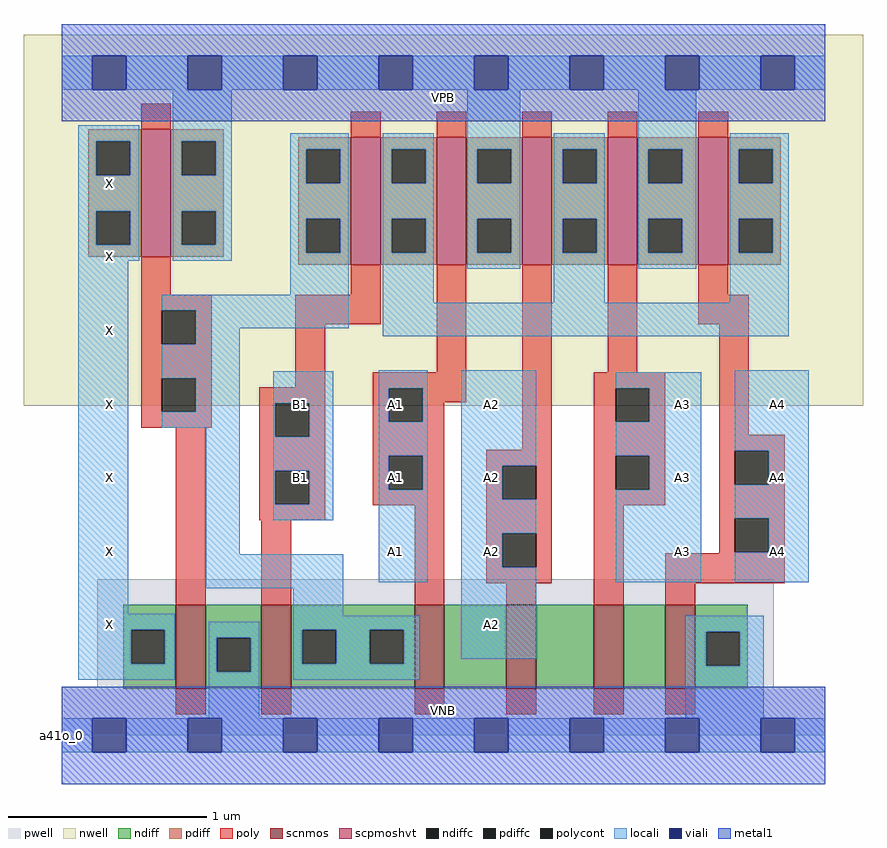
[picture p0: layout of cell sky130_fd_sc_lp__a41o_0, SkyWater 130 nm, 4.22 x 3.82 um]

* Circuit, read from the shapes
.subckt sky130_fd_sc_lp__a41o_0 A1 A2 A3 A4 B1 VGND VNB VPB VPWR X
XM1 VGND n1 X VNB sky130_fd_pr__nfet_01v8 w=0.42 l=0.15
XM2 n1 B1 VGND VNB sky130_fd_pr__nfet_01v8 w=0.42 l=0.15
XM3 n2 A1 n1 VNB sky130_fd_pr__nfet_01v8 w=0.42 l=0.15
XM4 n3 A2 n2 VNB sky130_fd_pr__nfet_01v8 w=0.42 l=0.15
XM5 n4 A3 n3 VNB sky130_fd_pr__nfet_01v8 w=0.42 l=0.15
XM6 VGND A4 n4 VNB sky130_fd_pr__nfet_01v8 w=0.42 l=0.15
XM7 VPWR n1 X VPB sky130_fd_pr__pfet_01v8_hvt w=0.64 l=0.15
XM8 n5 B1 n1 VPB sky130_fd_pr__pfet_01v8_hvt w=0.64 l=0.15
XM9 VPWR A1 n5 VPB sky130_fd_pr__pfet_01v8_hvt w=0.64 l=0.15
XM10 n5 A2 VPWR VPB sky130_fd_pr__pfet_01v8_hvt w=0.64 l=0.15
XM11 VPWR A3 n5 VPB sky130_fd_pr__pfet_01v8_hvt w=0.64 l=0.15
XM12 n5 A4 VPWR VPB sky130_fd_pr__pfet_01v8_hvt w=0.64 l=0.15
.ends

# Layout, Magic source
magic
tech sky130A
magscale 1 2
<< nwell >>
rect -38 331 806 704
<< pwell >>
rect 36 49 716 157
rect 0 0 768 49
<< scnmos >>
rect 115 47 145 131
rect 201 47 231 131
rect 355 47 385 131
rect 447 47 477 131
rect 535 47 565 131
rect 607 47 637 131
<< scpmoshvt >>
rect 80 481 110 609
rect 291 473 321 601
rect 377 473 407 601
rect 463 473 493 601
rect 549 473 579 601
rect 640 473 670 601
<< ndiff >>
rect 62 106 115 131
rect 62 72 70 106
rect 104 72 115 106
rect 62 47 115 72
rect 145 98 201 131
rect 145 64 156 98
rect 190 64 201 98
rect 145 47 201 64
rect 231 106 355 131
rect 231 72 242 106
rect 276 72 310 106
rect 344 72 355 106
rect 231 47 355 72
rect 385 47 447 131
rect 477 47 535 131
rect 565 47 607 131
rect 637 104 690 131
rect 637 70 648 104
rect 682 70 690 104
rect 637 47 690 70
<< pdiff >>
rect 27 597 80 609
rect 27 563 35 597
rect 69 563 80 597
rect 27 527 80 563
rect 27 493 35 527
rect 69 493 80 527
rect 27 481 80 493
rect 110 597 163 609
rect 110 563 121 597
rect 155 563 163 597
rect 110 527 163 563
rect 110 493 121 527
rect 155 493 163 527
rect 110 481 163 493
rect 238 589 291 601
rect 238 555 246 589
rect 280 555 291 589
rect 238 519 291 555
rect 238 485 246 519
rect 280 485 291 519
rect 238 473 291 485
rect 321 589 377 601
rect 321 555 332 589
rect 366 555 377 589
rect 321 519 377 555
rect 321 485 332 519
rect 366 485 377 519
rect 321 473 377 485
rect 407 589 463 601
rect 407 555 418 589
rect 452 555 463 589
rect 407 519 463 555
rect 407 485 418 519
rect 452 485 463 519
rect 407 473 463 485
rect 493 589 549 601
rect 493 555 504 589
rect 538 555 549 589
rect 493 519 549 555
rect 493 485 504 519
rect 538 485 549 519
rect 493 473 549 485
rect 579 589 640 601
rect 579 555 590 589
rect 624 555 640 589
rect 579 519 640 555
rect 579 485 590 519
rect 624 485 640 519
rect 579 473 640 485
rect 670 589 723 601
rect 670 555 681 589
rect 715 555 723 589
rect 670 519 723 555
rect 670 485 681 519
rect 715 485 723 519
rect 670 473 723 485
<< ndiffc >>
rect 70 72 104 106
rect 156 64 190 98
rect 242 72 276 106
rect 310 72 344 106
rect 648 70 682 104
<< pdiffc >>
rect 35 563 69 597
rect 35 493 69 527
rect 121 563 155 597
rect 121 493 155 527
rect 246 555 280 589
rect 246 485 280 519
rect 332 555 366 589
rect 332 485 366 519
rect 418 555 452 589
rect 418 485 452 519
rect 504 555 538 589
rect 504 485 538 519
rect 590 555 624 589
rect 590 485 624 519
rect 681 555 715 589
rect 681 485 715 519
<< poly >>
rect 80 609 110 635
rect 291 601 321 627
rect 377 601 407 627
rect 463 601 493 627
rect 549 601 579 627
rect 640 601 670 627
rect 80 443 110 481
rect 291 443 321 473
rect 80 427 151 443
rect 80 393 101 427
rect 135 393 151 427
rect 80 359 151 393
rect 80 325 101 359
rect 135 325 151 359
rect 235 413 321 443
rect 235 350 265 413
rect 377 365 407 473
rect 80 309 151 325
rect 199 334 265 350
rect 115 131 145 309
rect 199 300 215 334
rect 249 300 265 334
rect 199 266 265 300
rect 199 232 215 266
rect 249 232 265 266
rect 199 216 265 232
rect 313 349 407 365
rect 313 315 329 349
rect 363 335 407 349
rect 363 315 385 335
rect 313 281 385 315
rect 463 287 493 473
rect 549 365 579 473
rect 640 443 670 473
rect 640 413 691 443
rect 313 247 329 281
rect 363 247 385 281
rect 313 231 385 247
rect 201 131 231 216
rect 355 131 385 231
rect 427 271 493 287
rect 427 237 443 271
rect 477 237 493 271
rect 427 203 493 237
rect 427 169 443 203
rect 477 169 493 203
rect 427 153 493 169
rect 535 349 607 365
rect 535 315 557 349
rect 591 315 607 349
rect 535 281 607 315
rect 535 247 557 281
rect 591 247 607 281
rect 535 231 607 247
rect 661 302 691 413
rect 661 286 727 302
rect 661 252 677 286
rect 711 252 727 286
rect 447 131 477 153
rect 535 131 565 231
rect 661 218 727 252
rect 661 184 677 218
rect 711 184 727 218
rect 661 183 727 184
rect 607 153 727 183
rect 607 131 637 153
rect 115 21 145 47
rect 201 21 231 47
rect 355 21 385 47
rect 447 21 477 47
rect 535 21 565 47
rect 607 21 637 47
<< polycont >>
rect 101 393 135 427
rect 101 325 135 359
rect 215 300 249 334
rect 215 232 249 266
rect 329 315 363 349
rect 329 247 363 281
rect 443 237 477 271
rect 443 169 477 203
rect 557 315 591 349
rect 557 247 591 281
rect 677 252 711 286
rect 677 184 711 218
<< locali >>
rect 0 649 31 683
rect 65 649 127 683
rect 161 649 223 683
rect 257 649 319 683
rect 353 649 415 683
rect 449 649 511 683
rect 545 649 607 683
rect 641 649 703 683
rect 737 649 768 683
rect 17 597 78 613
rect 17 563 35 597
rect 69 563 78 597
rect 17 527 78 563
rect 17 493 35 527
rect 69 493 78 527
rect 17 477 78 493
rect 112 597 171 649
rect 112 563 121 597
rect 155 563 171 597
rect 112 527 171 563
rect 112 493 121 527
rect 155 493 171 527
rect 112 477 171 493
rect 230 589 289 605
rect 230 555 246 589
rect 280 555 289 589
rect 230 519 289 555
rect 230 485 246 519
rect 280 485 289 519
rect 17 122 67 477
rect 230 443 289 485
rect 101 427 289 443
rect 135 409 289 427
rect 323 589 374 605
rect 323 555 332 589
rect 366 555 374 589
rect 323 519 374 555
rect 323 485 332 519
rect 366 485 374 519
rect 323 435 374 485
rect 408 589 461 649
rect 408 555 418 589
rect 452 555 461 589
rect 408 519 461 555
rect 408 485 418 519
rect 452 485 461 519
rect 408 469 461 485
rect 495 589 546 605
rect 495 555 504 589
rect 538 555 546 589
rect 495 519 546 555
rect 495 485 504 519
rect 538 485 546 519
rect 495 435 546 485
rect 580 589 638 649
rect 580 555 590 589
rect 624 555 638 589
rect 580 519 638 555
rect 580 485 590 519
rect 624 485 638 519
rect 580 469 638 485
rect 672 589 731 605
rect 672 555 681 589
rect 715 555 731 589
rect 672 519 731 555
rect 672 485 681 519
rect 715 485 731 519
rect 672 435 731 485
rect 135 393 179 409
rect 323 401 731 435
rect 101 359 179 393
rect 135 325 179 359
rect 101 309 179 325
rect 145 182 179 309
rect 213 334 273 366
rect 213 300 215 334
rect 249 300 273 334
rect 213 266 273 300
rect 213 232 215 266
rect 249 232 273 266
rect 213 216 273 232
rect 319 349 368 367
rect 319 315 329 349
rect 363 315 368 349
rect 319 281 368 315
rect 319 247 329 281
rect 363 247 368 281
rect 145 148 283 182
rect 319 154 368 247
rect 402 271 477 367
rect 402 237 443 271
rect 402 203 477 237
rect 402 169 443 203
rect 17 106 114 122
rect 233 120 283 148
rect 17 72 70 106
rect 104 72 114 106
rect 17 56 114 72
rect 148 98 199 114
rect 148 64 156 98
rect 190 64 199 98
rect 148 17 199 64
rect 233 106 360 120
rect 233 72 242 106
rect 276 72 310 106
rect 344 72 360 106
rect 402 77 477 169
rect 557 349 643 365
rect 591 315 643 349
rect 557 281 643 315
rect 591 247 643 281
rect 557 154 643 247
rect 677 286 751 367
rect 711 252 751 286
rect 677 218 751 252
rect 711 184 751 218
rect 677 154 751 184
rect 627 104 706 120
rect 233 56 360 72
rect 627 70 648 104
rect 682 70 706 104
rect 627 17 706 70
rect 0 -17 31 17
rect 65 -17 127 17
rect 161 -17 223 17
rect 257 -17 319 17
rect 353 -17 415 17
rect 449 -17 511 17
rect 545 -17 607 17
rect 641 -17 703 17
rect 737 -17 768 17
<< viali >>
rect 31 649 65 683
rect 127 649 161 683
rect 223 649 257 683
rect 319 649 353 683
rect 415 649 449 683
rect 511 649 545 683
rect 607 649 641 683
rect 703 649 737 683
rect 31 -17 65 17
rect 127 -17 161 17
rect 223 -17 257 17
rect 319 -17 353 17
rect 415 -17 449 17
rect 511 -17 545 17
rect 607 -17 641 17
rect 703 -17 737 17
<< metal1 >>
rect 0 683 768 715
rect 0 649 31 683
rect 65 649 127 683
rect 161 649 223 683
rect 257 649 319 683
rect 353 649 415 683
rect 449 649 511 683
rect 545 649 607 683
rect 641 649 703 683
rect 737 649 768 683
rect 0 617 768 649
rect 0 17 768 49
rect 0 -17 31 17
rect 65 -17 127 17
rect 161 -17 223 17
rect 257 -17 319 17
rect 353 -17 415 17
rect 449 -17 511 17
rect 545 -17 607 17
rect 641 -17 703 17
rect 737 -17 768 17
rect 0 -49 768 -17
<< labels >>
flabel pwell s 0 0 768 49 0 FreeSans 200 0 0 0 VNB
port 7 nsew ground bidirectional
flabel nwell s 0 617 768 666 0 FreeSans 200 0 0 0 VPB
port 8 nsew power bidirectional
rlabel comment s 0 0 0 0 4 a41o_0
flabel metal1 s 0 617 768 666 0 FreeSans 340 0 0 0 VPWR
port 9 nsew power bidirectional
flabel metal1 s 0 0 768 49 0 FreeSans 340 0 0 0 VGND
port 6 nsew ground bidirectional
flabel locali s 319 168 353 202 0 FreeSans 340 0 0 0 A1
port 1 nsew signal input
flabel locali s 319 242 353 276 0 FreeSans 340 0 0 0 A1
port 1 nsew signal input
flabel locali s 319 316 353 350 0 FreeSans 340 0 0 0 A1
port 1 nsew signal input
flabel locali s 415 94 449 128 0 FreeSans 340 0 0 0 A2
port 2 nsew signal input
flabel locali s 415 168 449 202 0 FreeSans 340 0 0 0 A2
port 2 nsew signal input
flabel locali s 415 242 449 276 0 FreeSans 340 0 0 0 A2
port 2 nsew signal input
flabel locali s 415 316 449 350 0 FreeSans 340 0 0 0 A2
port 2 nsew signal input
flabel locali s 607 168 641 202 0 FreeSans 340 0 0 0 A3
port 3 nsew signal input
flabel locali s 607 242 641 276 0 FreeSans 340 0 0 0 A3
port 3 nsew signal input
flabel locali s 607 316 641 350 0 FreeSans 340 0 0 0 A3
port 3 nsew signal input
flabel locali s 703 168 737 202 0 FreeSans 340 0 0 0 A4
port 4 nsew signal input
flabel locali s 703 242 737 276 0 FreeSans 340 0 0 0 A4
port 4 nsew signal input
flabel locali s 703 316 737 350 0 FreeSans 340 0 0 0 A4
port 4 nsew signal input
flabel locali s 223 242 257 276 0 FreeSans 340 0 0 0 B1
port 5 nsew signal input
flabel locali s 223 316 257 350 0 FreeSans 340 0 0 0 B1
port 5 nsew signal input
flabel locali s 31 94 65 128 0 FreeSans 340 0 0 0 X
port 10 nsew signal output
flabel locali s 31 168 65 202 0 FreeSans 340 0 0 0 X
port 10 nsew signal output
flabel locali s 31 242 65 276 0 FreeSans 340 0 0 0 X
port 10 nsew signal output
flabel locali s 31 316 65 350 0 FreeSans 340 0 0 0 X
port 10 nsew signal output
flabel locali s 31 390 65 424 0 FreeSans 340 0 0 0 X
port 10 nsew signal output
flabel locali s 31 464 65 498 0 FreeSans 340 0 0 0 X
port 10 nsew signal output
flabel locali s 31 538 65 572 0 FreeSans 340 0 0 0 X
port 10 nsew signal output
<< properties >>
string LEFsite unit
string LEFclass CORE
string FIXED_BBOX 0 0 768 666
string GDS_FILE $PDKPATH/libs.ref/sky130_fd_sc_lp/gds/sky130_fd_sc_lp.gds
string LEFsymmetry X Y R90
string GDS_END 5518602
string GDS_START 5509338
<< end >>
